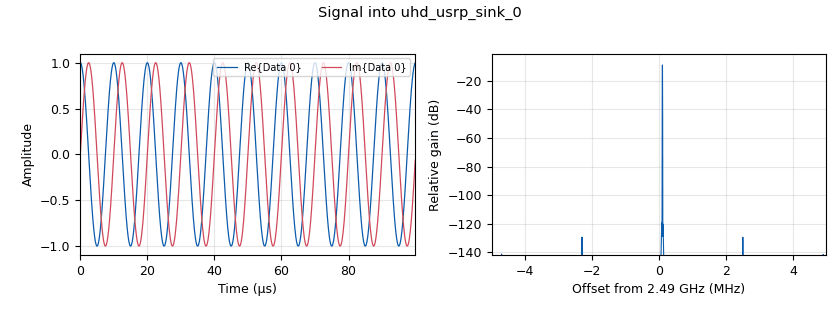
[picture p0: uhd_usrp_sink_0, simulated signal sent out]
options:
  parameters:
    generate_options: no_gui
    id: run_DoA_transmitter
    output_language: python
    run_options: run
  states: {}

blocks:
- name: CenterFreq
  id: variable
  parameters:
    value: 2.49e9
  states: {}
- name: Gain
  id: variable
  parameters:
    value: '56'
  states: {}
- name: SampleRate
  id: variable
  parameters:
    value: 10e6
  states: {}
- name: ToneFreq
  id: variable
  parameters:
    value: SampleRate / 100
  states: {}
- name: analog_sig_source_x_0
  id: analog_sig_source_x
  parameters:
    amp: '1'
    freq: ToneFreq
    offset: '0'
    phase: '0'
    samp_rate: SampleRate
    type: complex
    waveform: analog.GR_COS_WAVE
  states: {}
- name: uhd_usrp_sink_0
  id: uhd_usrp_sink
  parameters:
    ant0: ''
    center_freq0: CenterFreq
    clock_rate: '0.0'
    clock_source0: internal
    dev_addr: ''
    dev_args: '""'
    gain0: Gain
    len_tag_name: ''
    norm_gain0: 'False'
    samp_rate: SampleRate
    sync: sync
    type: fc32
  states: {}

connections:
- [analog_sig_source_x_0, '0', uhd_usrp_sink_0, '0']

metadata:
  file_format: 1
